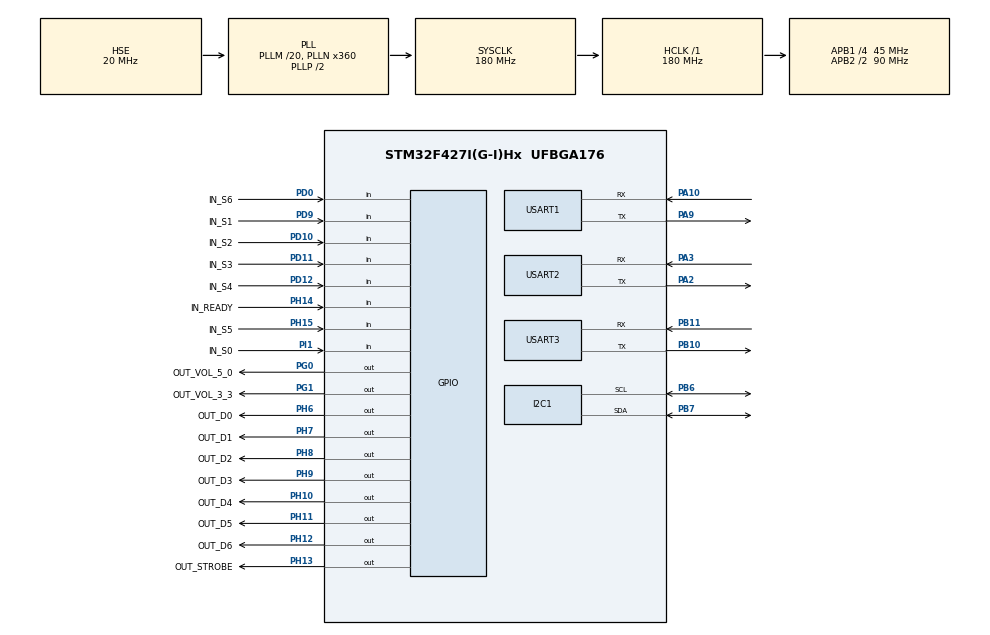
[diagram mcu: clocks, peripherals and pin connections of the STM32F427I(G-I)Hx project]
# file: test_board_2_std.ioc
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Mcu.Family=STM32F4
Mcu.Name=STM32F427I(G-I)Hx
Mcu.Package=UFBGA176
NVIC.PriorityGroup=NVIC_PRIORITYGROUP_4
NVIC.TIM2_IRQn=true\:0\:0\:false\:false\:true\:true\:true
NVIC.TIM3_IRQn=true\:0\:0\:false\:false\:true\:true\:true
NVIC.USART1_IRQn=true\:0\:0\:false\:false\:true\:true\:true
NVIC.USART2_IRQn=true\:0\:0\:false\:false\:true\:true\:true
NVIC.USART3_IRQn=true\:0\:0\:false\:false\:true\:true\:true
PA10.Mode=Asynchronous
PA10.Signal=USART1_RX
PA2.Mode=Asynchronous
PA2.Signal=USART2_TX
PA3.Mode=Asynchronous
PA3.Signal=USART2_RX
PA9.Mode=Asynchronous
PA9.Signal=USART1_TX
PB10.Mode=Asynchronous
PB10.Signal=USART3_TX
PB11.Mode=Asynchronous
PB11.Signal=USART3_RX
PB6.Mode=I2C
PB6.Signal=I2C1_SCL
PB7.Mode=I2C
PB7.Signal=I2C1_SDA
PD0.GPIO_Label=IN_S6
PD0.Signal=GPIO_Input
PD10.GPIO_Label=IN_S2
PD10.Signal=GPIO_Input
PD11.GPIO_Label=IN_S3
PD11.Signal=GPIO_Input
PD12.GPIO_Label=IN_S4
PD12.Signal=GPIO_Input
PD9.GPIO_Label=IN_S1
PD9.Signal=GPIO_Input
PG0.GPIO_Label=OUT_VOL_5_0
PG0.GPIO_PuPd=GPIO_PULLDOWN
PG0.Signal=GPIO_Output
PG1.GPIO_Label=OUT_VOL_3_3
PG1.GPIO_PuPd=GPIO_PULLDOWN
PG1.Signal=GPIO_Output
PH0/OSC_IN.Mode=HSE-External-Oscillator
PH0/OSC_IN.Signal=RCC_OSC_IN
PH1/OSC_OUT.Mode=HSE-External-Oscillator
PH1/OSC_OUT.Signal=RCC_OSC_OUT
PH10.GPIO_Label=OUT_D4
PH10.GPIO_PuPd=GPIO_PULLDOWN
PH10.Signal=GPIO_Output
PH11.GPIO_Label=OUT_D5
PH11.GPIO_PuPd=GPIO_PULLDOWN
PH11.Signal=GPIO_Output
PH12.GPIO_Label=OUT_D6
PH12.GPIO_PuPd=GPIO_PULLDOWN
PH12.Signal=GPIO_Output
PH13.GPIO_Label=OUT_STROBE
PH13.GPIO_PuPd=GPIO_PULLUP
PH13.Signal=GPIO_Output
PH14.GPIO_Label=IN_READY
PH14.Signal=GPIO_Input
PH15.GPIO_Label=IN_S5
PH15.Signal=GPIO_Input
PH6.GPIO_Label=OUT_D0
PH6.GPIO_PuPd=GPIO_PULLDOWN
PH6.Signal=GPIO_Output
PH7.GPIO_Label=OUT_D1
PH7.GPIO_PuPd=GPIO_PULLDOWN
PH7.Signal=GPIO_Output
PH8.GPIO_Label=OUT_D2
PH8.GPIO_PuPd=GPIO_PULLDOWN
PH8.Signal=GPIO_Output
PH9.GPIO_Label=OUT_D3
PH9.GPIO_PuPd=GPIO_PULLDOWN
PH9.Signal=GPIO_Output
PI1.GPIO_Label=IN_S0
PI1.Signal=GPIO_Input
ProjectManager.HeapSize=0x200
ProjectManager.StackSize=0x400
ProjectManager.TargetToolchain=MDK-ARM V5
RCC.48MHZClocksFreq_Value=90000000
RCC.AHBFreq_Value=180000000
RCC.APB1CLKDivider=RCC_HCLK_DIV4
RCC.APB1Freq_Value=45000000
RCC.APB1TimFreq_Value=90000000
RCC.APB2CLKDivider=RCC_HCLK_DIV2
RCC.APB2Freq_Value=90000000
RCC.APB2TimFreq_Value=180000000
RCC.CortexFreq_Value=180000000
RCC.HCLKFreq_Value=180000000
RCC.HSE_VALUE=20000000
RCC.HSI_VALUE=16000000
RCC.LSE_VALUE=32768
RCC.PLLM=20
RCC.PLLN=360
RCC.PLLSourceVirtual=RCC_PLLSOURCE_HSE
RCC.SYSCLKFreq_VALUE=180000000
RCC.SYSCLKSource=RCC_SYSCLKSOURCE_PLLCLK
RCC.VCOOutputFreq_Value=360000000
TIM2.AutoReloadPreload=TIM_AUTORELOAD_PRELOAD_ENABLE
TIM2.Period=1000
TIM2.Prescaler=44999
TIM3.AutoReloadPreload=TIM_AUTORELOAD_PRELOAD_ENABLE
TIM3.Period=1
TIM3.Prescaler=44999
USART1.VirtualMode=VM_ASYNC
USART2.VirtualMode=VM_ASYNC
USART3.VirtualMode=VM_ASYNC
VP_TIM2_VS_ClockSourceINT.Mode=Internal
VP_TIM3_VS_ClockSourceINT.Mode=Internal
board=custom

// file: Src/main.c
/* USER CODE BEGIN Header */
/**
  ******************************************************************************
  * @file           : main.c
  * @brief          : Main program body
  ******************************************************************************
  * @attention
  *
  * <h2><center>&copy; Copyright (c) 2020 STMicroelectronics.
  * All rights reserved.</center></h2>
  *
  * This software component is licensed by ST under BSD 3-Clause license,
  * the "License"; You may not use this file except in compliance with the
  * License. You may obtain a copy of the License at:
  *                        opensource.org/licenses/BSD-3-Clause
  *
  ******************************************************************************
  */
/* USER CODE END Header */

#include "main.h"
#include "i2c.h"
#include "tim.h"
#include "usart.h"
#include "gpio.h"

/* USER CODE BEGIN Includes */
#include <stdio.h>
#include <string.h>
#include "cmd.h"
#include "function.h"
#include "ring_buffer.h"

/* USER CODE END Includes */

/* USER CODE BEGIN PD */
#define VER "OSW1x48_testboard_1.0.3"
#define CMD_LENGTH 256
/* USER CODE END PD */

void SystemClock_Config(void);

/* USER CODE BEGIN 0 */
uint8_t usart1_tx_buf[2048];
uint8_t usart2_tx_buf[TRANS_MAX_LENGTH];
uint32_t counter = 0;

extern usart_tr_stu *usart1_tr;
uint8_t uart1_data;
uint8_t uart1_irq_sel;
uint8_t print_trans_data;

/* USER CODE END 0 */

int main(void)
{
  /* USER CODE BEGIN 1 */
  uint8_t ch, r_flag = 0;
  uint8_t cmd[CMD_LENGTH];
  uint32_t cmd_len = 0;

  /* USER CODE END 1 */

  /* MCU Configuration--------------------------------------------------------*/

  /* Reset of all peripherals, Initializes the Flash interface and the Systick. */
  HAL_Init();

  /* Configure the system clock */
  SystemClock_Config();

  /* Initialize all configured peripherals */
  MX_GPIO_Init();
  MX_I2C1_Init();
  MX_TIM2_Init();
  MX_TIM3_Init();
  MX_USART1_UART_Init();
  MX_USART2_UART_Init();
  MX_USART3_UART_Init();
  /* USER CODE BEGIN 2 */
  HAL_GPIO_WritePin(OUT_VOL_3_3_GPIO_Port, OUT_VOL_3_3_Pin, GPIO_PIN_RESET);
  HAL_GPIO_WritePin(OUT_VOL_5_0_GPIO_Port, OUT_VOL_5_0_Pin, GPIO_PIN_RESET);
  print_trans_data = 0;
  CLEAR_BIT(TERMINAL_UART.Instance->SR, USART_SR_RXNE);
  __HAL_UART_FLUSH_DRREGISTER(&TERMINAL_UART);
  rb_init(usart1_tr->rb, USART_RX_BUF_SIZE, usart1_tr->rx_buf);
  rb_init(usart1_tr->wb, USART_TX_BUF_SIZE, usart1_tr->tx_buf);
  uart1_irq_sel = 1;
  __HAL_UART_ENABLE_IT(&TERMINAL_UART, UART_IT_RXNE);

  HAL_GPIO_WritePin(OUT_STROBE_GPIO_Port, OUT_STROBE_Pin, GPIO_PIN_SET);

  PRINT("\r\nCOM is ready\r\n");
  PRINT("Firmware Version: " VER "\r\n");
  PRINT(">");
  /* USER CODE END 2 */

  /* Infinite loop */
  /* USER CODE BEGIN WHILE */
  while (1)
  {
    if (serial_available() > 0) {
      ch = serial_read();

      if (ch == '\r' || ch == '\n') {
        if (ch == '\r') {
          r_flag = 1;
        } else {
          if (r_flag) {
            r_flag = 0;
            continue;
          }
        }
        PRINT("\r\n");
        cmd[cmd_len] = 0;
        process_cmd((char*)cmd);
        PRINT(">");
        cmd_len = 0;
      } else if (ch == '\b') {
        if (cmd_len > 0) {
          HAL_UART_Transmit(&TERMINAL_UART, &ch, 1, 0xFFFFFFFF);
          PRINT(" ");
          HAL_UART_Transmit(&TERMINAL_UART, &ch, 1, 0xFFFFFFFF);
          --cmd_len;
        }
        r_flag = 0;
      } else {
        if (cmd_len < CMD_LENGTH - 1)
          cmd[cmd_len++] = ch;
        HAL_UART_Transmit(&TERMINAL_UART, &ch, 1, 0xFFFFFFFF);
        r_flag = 0;
      }
    }
    /* USER CODE END WHILE */

  }
}

void SystemClock_Config(void)
{
  RCC_OscInitTypeDef RCC_OscInitStruct = {0};
  RCC_ClkInitTypeDef RCC_ClkInitStruct = {0};

  /** Configure the main internal regulator output voltage
  */
  __HAL_RCC_PWR_CLK_ENABLE();
  __HAL_PWR_VOLTAGESCALING_CONFIG(PWR_REGULATOR_VOLTAGE_SCALE1);
  /** Initializes the CPU, AHB and APB busses clocks
  */
  RCC_OscInitStruct.OscillatorType = RCC_OSCILLATORTYPE_HSE;
  RCC_OscInitStruct.HSEState = RCC_HSE_ON;
  RCC_OscInitStruct.PLL.PLLState = RCC_PLL_ON;
  RCC_OscInitStruct.PLL.PLLSource = RCC_PLLSOURCE_HSE;
  RCC_OscInitStruct.PLL.PLLM = 20;
  RCC_OscInitStruct.PLL.PLLN = 360;
  RCC_OscInitStruct.PLL.PLLP = RCC_PLLP_DIV2;
  RCC_OscInitStruct.PLL.PLLQ = 4;
  if (HAL_RCC_OscConfig(&RCC_OscInitStruct) != HAL_OK)
  {
    Error_Handler();
  }
  /** Activate the Over-Drive mode
  */
  if (HAL_PWREx_EnableOverDrive() != HAL_OK)
  {
    Error_Handler();
  }
  /** Initializes the CPU, AHB and APB busses clocks
  */
  RCC_ClkInitStruct.ClockType = RCC_CLOCKTYPE_HCLK|RCC_CLOCKTYPE_SYSCLK
                              |RCC_CLOCKTYPE_PCLK1|RCC_CLOCKTYPE_PCLK2;
  RCC_ClkInitStruct.SYSCLKSource = RCC_SYSCLKSOURCE_PLLCLK;
  RCC_ClkInitStruct.AHBCLKDivider = RCC_SYSCLK_DIV1;
  RCC_ClkInitStruct.APB1CLKDivider = RCC_HCLK_DIV4;
  RCC_ClkInitStruct.APB2CLKDivider = RCC_HCLK_DIV2;

  if (HAL_RCC_ClockConfig(&RCC_ClkInitStruct, FLASH_LATENCY_5) != HAL_OK)
  {
    Error_Handler();
  }
}

/* USER CODE BEGIN 4 */
console_cmd cmdlist[] = {
  {"poweron", cmd_power, "Command about power", "poweron", "poweron"},
  {"poweroff", cmd_power, "Command about power", "poweroff", "poweroff"},
  {"upgrade", cmd_upgrade, "Command about upgrade", "upgrade init [block_size] | file | install", "upgrade init [512] | file | install"},
  {"version", cmd_version, "Get version", "version", "version"},
  {"eeprom", cmd_eeprom, "write/read eeprom", "eeprom write <addr> <value> | read <addr> <len> | dump", "eeprom write 0x10 0x55 | eeprom read 0x10 16 | eeprom dump"},
  {"i2c", cmd_i2c, "write/read i2c", "i2c read <dev_addr> <count> | read <dev_addr> <mem_size> <mem_addr> <count>", "i2c read 0x48 2 | i2c read 0x48 1 0x0 2"},
  {"debug", cmd_for_debug, "Command for debug", "debug", "debug"},
  {"help", cmd_help, "Help information", "help | <cmd> help", "help | upgrade help"},
};
const uint32_t cmd_count = sizeof(cmdlist) / sizeof(cmdlist[0]);

void HAL_UART_RxCpltCallback(UART_HandleTypeDef *huart)
{
  if (huart->Instance == TERMINAL_UART.Instance) {
    if (rb_is_full(usart1_tr->rb)) {
        rb_remove(usart1_tr->rb);
    }
    rb_insert(usart1_tr->rb, uart1_data);

    HAL_UART_Receive_IT(&TERMINAL_UART, &uart1_data, 1);
  }
}

void HAL_TIM_PeriodElapsedCallback(TIM_HandleTypeDef *htim)
{
  if (htim->Instance == TIM2) {
  }
}

/* USER CODE END 4 */

void Error_Handler(void)
{
}

/************************ (C) COPYRIGHT STMicroelectronics *****END OF FILE****/
